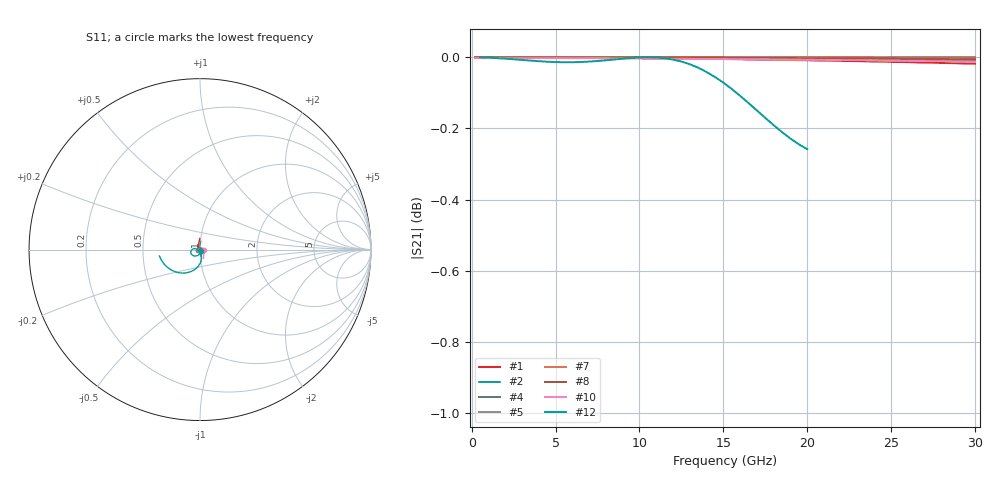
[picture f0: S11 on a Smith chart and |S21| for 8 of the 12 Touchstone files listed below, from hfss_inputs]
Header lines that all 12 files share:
! Touchstone file exported from HFSS 2026.1.0
!  Setup:  Setup1
! Variables:
! Terminal data exported
! Port[1] = Port1
! Port[2] = Port2
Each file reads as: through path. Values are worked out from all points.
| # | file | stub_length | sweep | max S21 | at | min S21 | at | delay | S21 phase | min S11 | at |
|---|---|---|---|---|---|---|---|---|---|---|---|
| 1 | kinetic_2p5um_debug.s2p | 2.5um | 200 MHz to 30 GHz | 0.00 dB | 200 MHz | 0.0 dB | 30 GHz | 733 fs | -4 deg at 15.1 GHz | -40.1 dB | 200 MHz |
| 2 | kinetic_3p9um_debug.s2p | 3.9um | 200 MHz to 30 GHz | 0.00 dB | 200 MHz | 0.0 dB | 30 GHz | 815 fs | -4 deg at 15.1 GHz | -53.0 dB | 200 MHz |
| 3 | kinetic_3um_debug.s2p | 2.5um | 200 MHz to 30 GHz | 0.00 dB | 200 MHz | 0.0 dB | 30 GHz | 769 fs | -4 deg at 15.1 GHz | -37.8 dB | 200 MHz |
| 4 | kinetic_7um_debug.s2p | 2.5um | 200 MHz to 30 GHz | 0.00 dB | 200 MHz | 0.0 dB | 30 GHz | 1.01 ps | -5 deg at 15.1 GHz | -60.7 dB | 200 MHz |
| 5 | kinetic_8um_debug.s2p | 2.5um | 200 MHz to 30 GHz | 0.00 dB | 28.51 GHz | 0.0 dB | 11.13 GHz | 1.07 ps | -6 deg at 15.1 GHz | -39.0 dB | 28.51 GHz |
| 6 | kinetic_9um_debug.s2p | 2.5um | 200 MHz to 30 GHz | 0.00 dB | 200 MHz | 0.0 dB | 30 GHz | 1.14 ps | -6 deg at 15.1 GHz | -36.5 dB | 200 MHz |
| 7 | kinetic_10um_debug.s2p | 2.5um | 200 MHz to 30 GHz | 0.00 dB | 200 MHz | 0.0 dB | 30 GHz | 1.21 ps | -6 deg at 15.1 GHz | -38.1 dB | 200 MHz |
| 8 | kinetic_11um_debug.s2p | 2.5um | 200 MHz to 30 GHz | 0.00 dB | 200 MHz | 0.0 dB | 30 GHz | 1.28 ps | -7 deg at 15.1 GHz | -36.7 dB | 200 MHz |
| 9 | kinetic_12um_debug.s2p | 12um | 200 MHz to 30 GHz | 0.00 dB | 200 MHz | 0.0 dB | 30 GHz | 1.35 ps | -7 deg at 15.1 GHz | -38.4 dB | 200 MHz |
| 10 | pec_3p9um_debug.s2p | 3.9um | 200 MHz to 30 GHz | 0.00 dB | 200 MHz | 0.0 dB | 30 GHz | - | -1 deg at 15.1 GHz | -32.5 dB | 200 MHz |
| 11 | pec_12um_debug.s2p | 12um | 200 MHz to 30 GHz | 0.00 dB | 200 MHz | -0.1 dB | 30 GHz | 711 fs | -4 deg at 15.1 GHz | -38.7 dB | 200 MHz |
| 12 | supercell_13_3_13_coarse.s2p | 12um | 500 MHz to 20 GHz | 0.00 dB | 10.5 GHz | -0.3 dB | 20 GHz | 36.1 ps | -135 deg at 10.5 GHz | -41.6 dB | 10.5 GHz |
